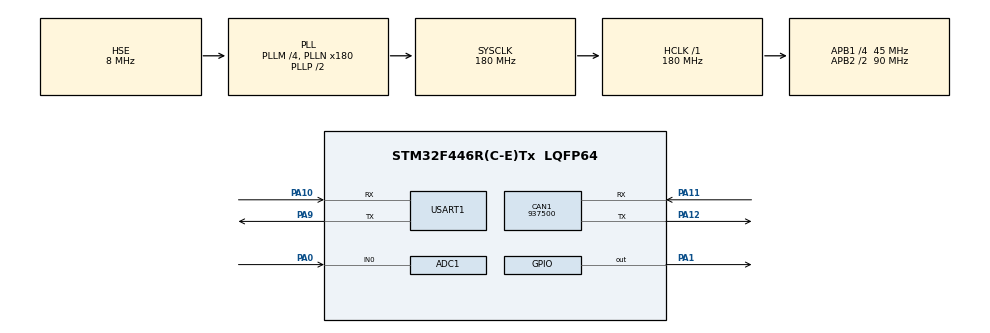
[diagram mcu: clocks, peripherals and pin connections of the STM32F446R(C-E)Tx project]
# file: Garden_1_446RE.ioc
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ADC1.Channel-0\#ChannelRegularConversion=ADC_CHANNEL_0
ADC1.NbrOfConversionFlag=1
ADC1.Rank-0\#ChannelRegularConversion=1
ADC1.SamplingTime-0\#ChannelRegularConversion=ADC_SAMPLETIME_3CYCLES
ADC1.master=1
CAN1.CalculateBaudRate=937500
CAN1.CalculateTimeBit=1066
CAN1.CalculateTimeQuantum=355.55555555555554
FREERTOS.Tasks01=defaultTask,24,128,StartDefaultTask,Default,NULL,Dynamic,NULL,NULL
Mcu.Family=STM32F4
Mcu.Name=STM32F446R(C-E)Tx
Mcu.Package=LQFP64
NVIC.PriorityGroup=NVIC_PRIORITYGROUP_4
NVIC.TIM1_UP_TIM10_IRQn=true\:15\:0\:false\:false\:true\:false\:false\:true\:true
NVIC.TimeBase=TIM1_UP_TIM10_IRQn
NVIC.TimeBaseIP=TIM1
PA0-WKUP.Signal=ADCx_IN0
PA1.Signal=GPIO_Output
PA10.Mode=Asynchronous
PA10.Signal=USART1_RX
PA11.Mode=CAN_Activate
PA11.Signal=CAN1_RX
PA12.Mode=CAN_Activate
PA12.Signal=CAN1_TX
PA9.Mode=Asynchronous
PA9.Signal=USART1_TX
PH0-OSC_IN.Mode=HSE-External-Oscillator
PH0-OSC_IN.Signal=RCC_OSC_IN
PH1-OSC_OUT.Mode=HSE-External-Oscillator
PH1-OSC_OUT.Signal=RCC_OSC_OUT
ProjectManager.HeapSize=0x200
ProjectManager.StackSize=0x400
ProjectManager.TargetToolchain=STM32CubeIDE
RCC.48MHZClocksFreq_Value=84000000
RCC.AHBFreq_Value=180000000
RCC.APB1CLKDivider=RCC_HCLK_DIV4
RCC.APB1Freq_Value=45000000
RCC.APB1TimFreq_Value=90000000
RCC.APB2CLKDivider=RCC_HCLK_DIV2
RCC.APB2Freq_Value=90000000
RCC.APB2TimFreq_Value=180000000
RCC.CortexFreq_Value=180000000
RCC.FLatency-AdvancedSettings=FLASH_LATENCY_5
RCC.HCLKFreq_Value=180000000
RCC.HSE_VALUE=8000000
RCC.HSI_VALUE=16000000
RCC.PLLM=4
RCC.PLLN=180
RCC.PLLSourceVirtual=RCC_PLLSOURCE_HSE
RCC.SYSCLKFreq_VALUE=180000000
RCC.SYSCLKSource=RCC_SYSCLKSOURCE_PLLCLK
RCC.USBFreq_Value=180000000
RCC.VCOOutputFreq_Value=360000000
SH.ADCx_IN0.0=ADC1_IN0,IN0
USART1.VirtualMode=VM_ASYNC
VP_FREERTOS_VS_CMSIS_V2.Mode=CMSIS_V2
VP_SYS_VS_tim1.Mode=TIM1
board=NUCLEO-F446RE

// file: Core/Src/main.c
/* USER CODE BEGIN Header */
/**
  ******************************************************************************
  * @file           : main.c
  * @brief          : Main program body
  ******************************************************************************
  * @attention
  *
  * Copyright (c) 2024 STMicroelectronics.
  * All rights reserved.
  *
  * This software is licensed under terms that can be found in the LICENSE file
  * in the root directory of this software component.
  * If no LICENSE file comes with this software, it is provided AS-IS.
  *
  ******************************************************************************
  */
/* USER CODE END Header */
#include "main.h"
#include "cmsis_os.h"
#include <string.h>
#include <stdio.h>

ADC_HandleTypeDef hadc1;

CAN_HandleTypeDef hcan1;

UART_HandleTypeDef huart1;

uint16_t moisture_level;

CAN_TxHeaderTypeDef TxHeader;

uint8_t TxData[2];

uint32_t TxMailbox;

/* Definitions for defaultTask */
//osThreadId_t defaultTaskHandle;
//const osThreadAttr_t defaultTask_attributes = {
//  .name = "defaultTask",
//  .stack_size = 128 * 4,
//  .priority = (osPriority_t) osPriorityNormal,
//};
/* USER CODE BEGIN PV */

osThreadId_t moistureTaskHandle;
const osThreadAttr_t moistureTask_attributes = {
  .name = "moistureTask",
  .stack_size = 128 * 4,
  .priority = (osPriority_t) osPriorityNormal,
};

osThreadId_t wateringTaskHandle;
const osThreadAttr_t wateringTask_attributes = {
  .name = "wateringTask",
  .stack_size = 128 * 4,
  .priority = (osPriority_t) osPriorityAboveNormal,
};

osThreadId_t canTaskHandle;
const osThreadAttr_t canTask_attributes = {
  .name = "canTask",
  .stack_size = 128 * 4,
  .priority = (osPriority_t) osPriorityBelowNormal,
};

/* USER CODE END PV */

void SystemClock_Config(void);
static void MX_GPIO_Init(void);
static void MX_ADC1_Init(void);
static void MX_CAN1_Init(void);
static void MX_USART1_UART_Init(void);
//void StartDefaultTask(void *argument);
/* USER CODE BEGIN PFP */

void StartMoistureTask(void *argument);
void StartWateringTask(void *argument);
void StartCanTask(void *argument);

/* USER CODE END PFP */

int main(void)
{

  /* MCU Configuration--------------------------------------------------------*/

  /* Reset of all peripherals, Initializes the Flash interface and the Systick. */
  HAL_Init();

  /* Configure the system clock */
  SystemClock_Config();

  /* Initialize all configured peripherals */
  MX_GPIO_Init();
  MX_ADC1_Init();
  MX_CAN1_Init();
  MX_USART1_UART_Init();

  /* Init scheduler */
  osKernelInitialize();

  /* Create the thread(s) */
  /* creation of defaultTask */
//  defaultTaskHandle = osThreadNew(StartDefaultTask, NULL, &defaultTask_attributes);

  /* USER CODE BEGIN RTOS_THREADS */
  /* add threads, ... */
  moistureTaskHandle = osThreadNew(StartMoistureTask, NULL, &moistureTask_attributes);
  wateringTaskHandle = osThreadNew(StartWateringTask, NULL, &wateringTask_attributes);
  canTaskHandle = osThreadNew(StartCanTask, NULL, &canTask_attributes);

  /* USER CODE END RTOS_THREADS */

  /* Start scheduler */
  osKernelStart();

  /* We should never get here as control is now taken by the scheduler */
  /* Infinite loop */
  while (1)
  {

  }
}

void SystemClock_Config(void)
{
  RCC_OscInitTypeDef RCC_OscInitStruct = {0};
  RCC_ClkInitTypeDef RCC_ClkInitStruct = {0};

  /** Configure the main internal regulator output voltage
  */
  __HAL_RCC_PWR_CLK_ENABLE();
  __HAL_PWR_VOLTAGESCALING_CONFIG(PWR_REGULATOR_VOLTAGE_SCALE1);

  /** Initializes the RCC Oscillators according to the specified parameters
  * in the RCC_OscInitTypeDef structure.
  */
  RCC_OscInitStruct.OscillatorType = RCC_OSCILLATORTYPE_HSE;
  RCC_OscInitStruct.HSEState = RCC_HSE_ON;
  RCC_OscInitStruct.PLL.PLLState = RCC_PLL_ON;
  RCC_OscInitStruct.PLL.PLLSource = RCC_PLLSOURCE_HSE;
  RCC_OscInitStruct.PLL.PLLM = 4;
  RCC_OscInitStruct.PLL.PLLN = 180;
  RCC_OscInitStruct.PLL.PLLP = RCC_PLLP_DIV2;
  RCC_OscInitStruct.PLL.PLLQ = 2;
  RCC_OscInitStruct.PLL.PLLR = 2;
  if (HAL_RCC_OscConfig(&RCC_OscInitStruct) != HAL_OK)
  {
    Error_Handler();
  }

  /** Activate the Over-Drive mode
  */
  if (HAL_PWREx_EnableOverDrive() != HAL_OK)
  {
    Error_Handler();
  }

  /** Initializes the CPU, AHB and APB buses clocks
  */
  RCC_ClkInitStruct.ClockType = RCC_CLOCKTYPE_HCLK|RCC_CLOCKTYPE_SYSCLK
                              |RCC_CLOCKTYPE_PCLK1|RCC_CLOCKTYPE_PCLK2;
  RCC_ClkInitStruct.SYSCLKSource = RCC_SYSCLKSOURCE_PLLCLK;
  RCC_ClkInitStruct.AHBCLKDivider = RCC_SYSCLK_DIV1;
  RCC_ClkInitStruct.APB1CLKDivider = RCC_HCLK_DIV4;
  RCC_ClkInitStruct.APB2CLKDivider = RCC_HCLK_DIV2;

  if (HAL_RCC_ClockConfig(&RCC_ClkInitStruct, FLASH_LATENCY_5) != HAL_OK)
  {
    Error_Handler();
  }
}

static void MX_ADC1_Init(void)
{

  ADC_ChannelConfTypeDef sConfig = {0};

  /** Configure the global features of the ADC (Clock, Resolution, Data Alignment and number of conversion)
  */
  hadc1.Instance = ADC1;
  hadc1.Init.ClockPrescaler = ADC_CLOCK_SYNC_PCLK_DIV4;
  hadc1.Init.Resolution = ADC_RESOLUTION_12B;
  hadc1.Init.ScanConvMode = DISABLE;
  hadc1.Init.ContinuousConvMode = DISABLE;
  hadc1.Init.DiscontinuousConvMode = DISABLE;
  hadc1.Init.ExternalTrigConvEdge = ADC_EXTERNALTRIGCONVEDGE_NONE;
  hadc1.Init.ExternalTrigConv = ADC_SOFTWARE_START;
  hadc1.Init.DataAlign = ADC_DATAALIGN_RIGHT;
  hadc1.Init.NbrOfConversion = 1;
  hadc1.Init.DMAContinuousRequests = DISABLE;
  hadc1.Init.EOCSelection = ADC_EOC_SINGLE_CONV;
  if (HAL_ADC_Init(&hadc1) != HAL_OK)
  {
    Error_Handler();
  }

  /** Configure for the selected ADC regular channel its corresponding rank in the sequencer and its sample time.
  */
  sConfig.Channel = ADC_CHANNEL_0;
  sConfig.Rank = 1;
  sConfig.SamplingTime = ADC_SAMPLETIME_3CYCLES;
  if (HAL_ADC_ConfigChannel(&hadc1, &sConfig) != HAL_OK)
  {
    Error_Handler();
  }

}

static void MX_CAN1_Init(void)
{

  hcan1.Instance = CAN1;
  hcan1.Init.Prescaler = 16;
  hcan1.Init.Mode = CAN_MODE_NORMAL;
  hcan1.Init.SyncJumpWidth = CAN_SJW_1TQ;
  hcan1.Init.TimeSeg1 = CAN_BS1_1TQ;
  hcan1.Init.TimeSeg2 = CAN_BS2_1TQ;
  hcan1.Init.TimeTriggeredMode = DISABLE;
  hcan1.Init.AutoBusOff = DISABLE;
  hcan1.Init.AutoWakeUp = DISABLE;
  hcan1.Init.AutoRetransmission = DISABLE;
  hcan1.Init.ReceiveFifoLocked = DISABLE;
  hcan1.Init.TransmitFifoPriority = DISABLE;
  if (HAL_CAN_Init(&hcan1) != HAL_OK)
  {
    Error_Handler();
  }

}

static void MX_USART1_UART_Init(void)
{

  huart1.Instance = USART1;
  huart1.Init.BaudRate = 115200;
  huart1.Init.WordLength = UART_WORDLENGTH_8B;
  huart1.Init.StopBits = UART_STOPBITS_1;
  huart1.Init.Parity = UART_PARITY_NONE;
  huart1.Init.Mode = UART_MODE_TX_RX;
  huart1.Init.HwFlowCtl = UART_HWCONTROL_NONE;
  huart1.Init.OverSampling = UART_OVERSAMPLING_16;
  if (HAL_UART_Init(&huart1) != HAL_OK)
  {
    Error_Handler();
  }

}

static void MX_GPIO_Init(void)
{
  GPIO_InitTypeDef GPIO_InitStruct = {0};

  /* GPIO Ports Clock Enable */
  __HAL_RCC_GPIOH_CLK_ENABLE();
  __HAL_RCC_GPIOA_CLK_ENABLE();

  /*Configure GPIO pin Output Level */
  HAL_GPIO_WritePin(GPIOA, GPIO_PIN_1, GPIO_PIN_RESET);

  /*Configure GPIO pin : PA1 */
  GPIO_InitStruct.Pin = GPIO_PIN_1;
  GPIO_InitStruct.Mode = GPIO_MODE_OUTPUT_PP;
  GPIO_InitStruct.Pull = GPIO_NOPULL;
  GPIO_InitStruct.Speed = GPIO_SPEED_FREQ_LOW;
  HAL_GPIO_Init(GPIOA, &GPIO_InitStruct);

}

//void StartDefaultTask(void *argument)
//{
//  /* USER CODE BEGIN 5 */
//  /* Infinite loop */
//  for(;;)
//  {
//    osDelay(1);
//  }
//  /* USER CODE END 5 */
//}

void StartMoistureTask(void *argument)
{
  /* USER CODE BEGIN 5 */
  /* Infinite loop */
  for(;;)
  {
	  char *str = "Moisture Task Started";
	  HAL_UART_Transmit(&huart1, (uint8_t*)str, strlen(str), 50);
	  HAL_ADC_Start(&hadc1);
	  str = "ADC Conversion Started";
	  HAL_UART_Transmit(&huart1, (uint8_t*)str, strlen(str), 50);
	  if(HAL_ADC_PollForConversion(&hadc1, HAL_MAX_DELAY) == HAL_OK){
		  moisture_level = HAL_ADC_GetValue(&hadc1);
	  }
	  else{
		  str = "ADC Conversion Failed";
		  HAL_UART_Transmit(&huart1, (uint8_t*)str, strlen(str), 50);
	  }
	  str = "Moisture Task Stopped";
	  HAL_UART_Transmit(&huart1, (uint8_t*)str, strlen(str), 50);
	  HAL_Delay(1000);
  }
  /* USER CODE END 5 */
}

void StartWateringTask(void *argument)
{
  /* USER CODE BEGIN 5 */
  /* Infinite loop */
  for(;;)
  {
	  char *str = "Watering Task Started";
	  HAL_UART_Transmit(&huart1, (uint8_t*)str, strlen(str), 50);
	  if(moisture_level < 1000){
		  HAL_GPIO_WritePin(GPIOA, GPIO_PIN_1, GPIO_PIN_SET);
		  str = "Watering Pump Started";
		  HAL_UART_Transmit(&huart1, (uint8_t*)str, strlen(str), 50);
	  }
	  else{
		  HAL_GPIO_WritePin(GPIOA, GPIO_PIN_1, GPIO_PIN_RESET);
		  str = "Watering Pump Stopped";
		  HAL_UART_Transmit(&huart1, (uint8_t*)str, strlen(str), 50);
	  }
	  str = "Watering Task Stopped";
	  HAL_UART_Transmit(&huart1, (uint8_t*)str, strlen(str), 50);
	  HAL_Delay(1000);
  }
  /* USER CODE END 5 */
}

void StartCanTask(void *argument)
{
  /* USER CODE BEGIN 5 */
  /* Infinite loop */
  TxHeader.DLC = 2;
  TxHeader.IDE = CAN_ID_STD;
  TxHeader.StdId = 0x05;
  TxHeader.RTR = CAN_RTR_DATA;

  for(;;)
  {
	  char *str = "CAN Task Started";
	  HAL_UART_Transmit(&huart1, (uint8_t*)str, strlen(str), 50);
  	  TxData[0] = moisture_level & 0xFF;
  	  TxData[1] = (moisture_level >> 8) && 0xFF;
	  HAL_CAN_AddTxMessage(&hcan1, &TxHeader, TxData, &TxMailbox);
	  HAL_Delay(1000);
	  str = "CAN Task Stopped";
	  HAL_UART_Transmit(&huart1, (uint8_t*)str, strlen(str), 50);
  }
  /* USER CODE END 5 */
}

void HAL_TIM_PeriodElapsedCallback(TIM_HandleTypeDef *htim)
{
  if (htim->Instance == TIM1) {
    HAL_IncTick();
  }
}

void Error_Handler(void)
{
  __disable_irq();
  while (1)
  {
  }
}
